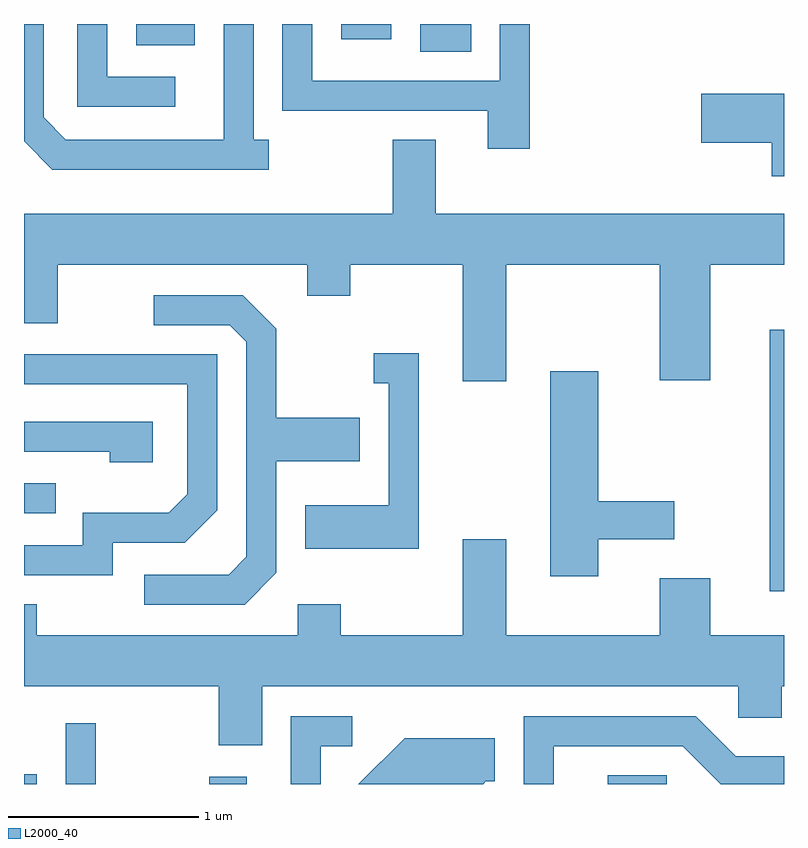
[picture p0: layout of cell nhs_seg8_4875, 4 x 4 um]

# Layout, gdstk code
import gdstk
lib = gdstk.Library(unit=1e-6, precision=1e-09)
def R(c, l, rs):  # rectangles x0, y0, x1, y1
    for r in rs: c.add(gdstk.rectangle(r[:2], r[2:], *l))
def P(c, l, *ps):  # polygons
    for p in ps: c.add(gdstk.Polygon(p, *l))
L2000_40 = (2000, 40)

nhs_seg8_4875 = lib.new_cell('nhs_seg8_4875')
R(nhs_seg8_4875, L2000_40, [(331.611,1840.342,331.679,1840.394), (331.831,1840.342,331.989,1840.663), (332.586,1840.342,332.784,1840.379), (334.683,1840.342,334.994,1840.389), (335.536,1841.356,335.611,1842.734), (331.611,1841.766,331.778,1841.924), (333.696,1844.196,333.964,1844.342), (332.201,1844.231,332.509,1844.342), (333.281,1844.261,333.544,1844.342)])
P(nhs_seg8_4875, L2000_40, [(334.274,1844.342),(334.116,1844.342),(334.116,1844.044),(333.129,1844.044),(333.129,1844.342),(332.971,1844.342),(332.971,1843.886),(334.051,1843.886),(334.051,1843.686),(334.274,1843.686)],
  [(332.898,1843.734),(332.819,1843.734),(332.819,1844.342),(332.661,1844.342),(332.661,1843.734),(331.832,1843.734),(331.714,1843.852),(331.714,1844.342),(331.611,1844.342),(331.611,1843.724),(331.759,1843.576),(332.898,1843.576)],
  [(332.408,1844.064),(332.049,1844.064),(332.049,1844.342),(331.891,1844.342),(331.891,1843.906),(332.408,1843.906)],
  [(335.611,1843.974),(335.176,1843.974),(335.176,1843.716),(335.546,1843.716),(335.546,1843.541),(335.611,1843.541)],
  [(331.611,1842.766),(331.789,1842.766),(331.789,1843.076),(333.101,1843.076),(333.101,1842.911),(333.329,1842.911),(333.329,1843.076),(333.921,1843.076),(333.921,1842.461),(334.149,1842.461),(334.149,1843.076),(334.956,1843.076),(334.956,1842.466),(335.224,1842.466),(335.224,1843.076),(335.611,1843.076),(335.611,1843.344),(333.779,1843.344),(333.779,1843.734),(333.551,1843.734),(333.551,1843.344),(331.611,1843.344)],
  [(332.939,1841.454),(332.939,1842.041),(333.379,1842.041),(333.379,1842.269),(332.939,1842.269),(332.939,1842.737),(332.762,1842.914),(332.293,1842.914),(332.293,1842.756),(332.694,1842.756),(332.781,1842.669),(332.781,1841.537),(332.689,1841.444),(332.243,1841.444),(332.243,1841.286),(332.772,1841.286)],
  [(333.689,1842.609),(333.453,1842.609),(333.453,1842.451),(333.531,1842.451),(333.531,1841.809),(333.091,1841.809),(333.091,1841.581),(333.689,1841.581)],
  [(332.079,1841.611),(332.457,1841.611),(332.629,1841.784),(332.629,1842.604),(331.611,1842.604),(331.611,1842.446),(332.471,1842.446),(332.471,1841.867),(332.374,1841.769),(331.921,1841.769),(331.921,1841.599),(331.611,1841.599),(331.611,1841.441),(332.079,1841.441)],
  [(334.634,1841.631),(335.034,1841.631),(335.034,1841.829),(334.634,1841.829),(334.634,1842.514),(334.381,1842.514),(334.381,1841.436),(334.634,1841.436)],
  [(332.289,1842.249),(331.611,1842.249),(331.611,1842.091),(332.061,1842.091),(332.061,1842.036),(332.289,1842.036)],
  [(332.864,1840.856),(335.371,1840.856),(335.371,1840.691),(335.599,1840.691),(335.599,1840.856),(335.611,1840.856),(335.611,1841.124),(335.224,1841.124),(335.224,1841.424),(334.956,1841.424),(334.956,1841.124),(334.149,1841.124),(334.149,1841.629),(333.921,1841.629),(333.921,1841.124),(333.279,1841.124),(333.279,1841.289),(333.051,1841.289),(333.051,1841.124),(331.679,1841.124),(331.679,1841.289),(331.611,1841.289),(331.611,1840.856),(332.636,1840.856),(332.636,1840.546),(332.864,1840.546)],
  [(333.174,1840.541),(333.338,1840.541),(333.338,1840.699),(333.016,1840.699),(333.016,1840.342),(333.174,1840.342)],
  [(334.399,1840.541),(335.079,1840.541),(335.278,1840.342),(335.611,1840.342),(335.611,1840.489),(335.357,1840.489),(335.147,1840.699),(334.241,1840.699),(334.241,1840.342),(334.399,1840.342)],
  [(334.042,1840.356),(334.089,1840.356),(334.089,1840.584),(333.614,1840.584),(333.371,1840.342),(334.028,1840.342)])

lib.write_gds('nhs_seg8_4875.gds')
